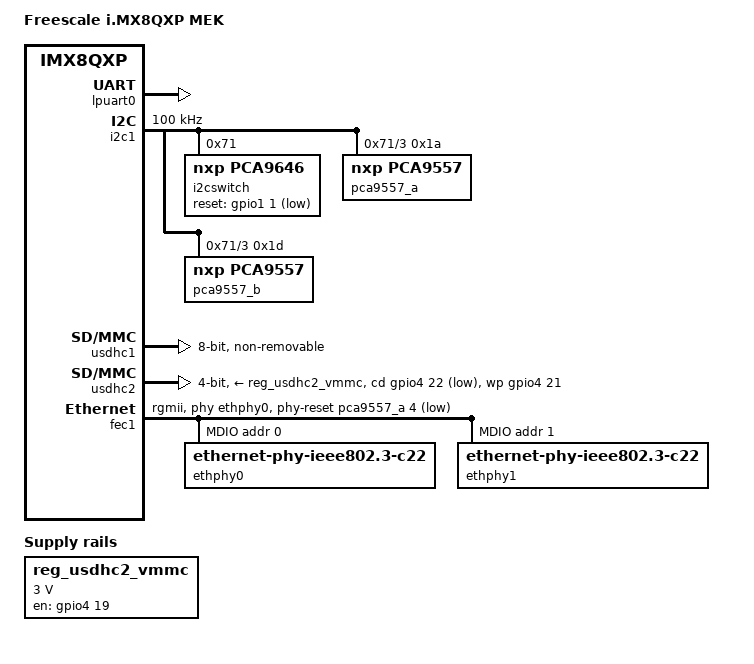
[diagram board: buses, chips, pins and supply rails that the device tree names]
// SPDX-License-Identifier: GPL-2.0+
/*
 * Copyright 2017-2018 NXP
 */

/dts-v1/;

#include "fsl-imx8qxp.dtsi"
#include "fsl-imx8qxp-mek-u-boot.dtsi"

/ {
	model = "Freescale i.MX8QXP MEK";
	compatible = "fsl,imx8qxp-mek", "fsl,imx8qxp";

	chosen {
		bootargs = "console=ttyLP0,115200 earlycon=lpuart32,0x5a060000,115200";
		stdout-path = &lpuart0;
	};

	reg_usdhc2_vmmc: regulator-usdhc2-vmmc {
		compatible = "regulator-fixed";
		regulator-name = "SD1_SPWR";
		regulator-min-microvolt = <3000000>;
		regulator-max-microvolt = <3000000>;
		gpio = <&gpio4 19 GPIO_ACTIVE_HIGH>;
		off-on-delay = <3480>;
		enable-active-high;
	};
};

&iomuxc {
	pinctrl-names = "default";
	pinctrl-0 = <&pinctrl_hog>;

	imx8qxp-mek {
		pinctrl_hog: hoggrp {
			fsl,pins = <
				SC_P_MCLK_OUT0_ADMA_ACM_MCLK_OUT0	0x0600004c
				SC_P_COMP_CTL_GPIO_1V8_3V3_GPIORHB_PAD	0x000514a0
			>;
		};

		pinctrl_ioexp_rst: ioexp-rst-grp {
			fsl,pins = <
				SC_P_SPI2_SDO_LSIO_GPIO1_IO01	0x06000021
			>;
		};

		pinctrl_fec1: fec1grp {
			fsl,pins = <
				SC_P_ENET0_MDC_CONN_ENET0_MDC			0x06000048
				SC_P_ENET0_MDIO_CONN_ENET0_MDIO			0x06000048
				SC_P_ENET0_RGMII_TX_CTL_CONN_ENET0_RGMII_TX_CTL	0x06000048
				SC_P_ENET0_RGMII_TXC_CONN_ENET0_RGMII_TXC	0x06000048
				SC_P_ENET0_RGMII_TXD0_CONN_ENET0_RGMII_TXD0	0x06000048
				SC_P_ENET0_RGMII_TXD1_CONN_ENET0_RGMII_TXD1	0x06000048
				SC_P_ENET0_RGMII_TXD2_CONN_ENET0_RGMII_TXD2	0x06000048
				SC_P_ENET0_RGMII_TXD3_CONN_ENET0_RGMII_TXD3	0x06000048
				SC_P_ENET0_RGMII_RXC_CONN_ENET0_RGMII_RXC	0x06000048
				SC_P_ENET0_RGMII_RX_CTL_CONN_ENET0_RGMII_RX_CTL	0x06000048
				SC_P_ENET0_RGMII_RXD0_CONN_ENET0_RGMII_RXD0	0x06000048
				SC_P_ENET0_RGMII_RXD1_CONN_ENET0_RGMII_RXD1	0x06000048
				SC_P_ENET0_RGMII_RXD2_CONN_ENET0_RGMII_RXD2	0x06000048
				SC_P_ENET0_RGMII_RXD3_CONN_ENET0_RGMII_RXD3	0x06000048
			>;
		};

		pinctrl_fec2: fec2grp {
			fsl,pins = <
				SC_P_ESAI0_SCKR_CONN_ENET1_RGMII_TX_CTL		0x06000048
				SC_P_ESAI0_FSR_CONN_ENET1_RGMII_TXC		0x06000048
				SC_P_ESAI0_TX4_RX1_CONN_ENET1_RGMII_TXD0	0x06000048
				SC_P_ESAI0_TX5_RX0_CONN_ENET1_RGMII_TXD1	0x06000048
				SC_P_ESAI0_FST_CONN_ENET1_RGMII_TXD2		0x06000048
				SC_P_ESAI0_SCKT_CONN_ENET1_RGMII_TXD3		0x06000048
				SC_P_ESAI0_TX0_CONN_ENET1_RGMII_RXC		0x06000048
				SC_P_SPDIF0_TX_CONN_ENET1_RGMII_RX_CTL		0x06000048
				SC_P_SPDIF0_RX_CONN_ENET1_RGMII_RXD0		0x06000048
				SC_P_ESAI0_TX3_RX2_CONN_ENET1_RGMII_RXD1	0x06000048
				SC_P_ESAI0_TX2_RX3_CONN_ENET1_RGMII_RXD2	0x06000048
				SC_P_ESAI0_TX1_CONN_ENET1_RGMII_RXD3		0x06000048
			>;
		};

		pinctrl_lpi2c1: lpi2c1grp {
			fsl,pins = <
				SC_P_USB_SS3_TC1_ADMA_I2C1_SCL	0x06000021
				SC_P_USB_SS3_TC3_ADMA_I2C1_SDA	0x06000021
			>;
		};

		pinctrl_lpuart0: lpuart0grp {
			fsl,pins = <
				SC_P_UART0_RX_ADMA_UART0_RX	0x06000020
				SC_P_UART0_TX_ADMA_UART0_TX	0x06000020
			>;
		};

		pinctrl_usdhc1: usdhc1grp {
			fsl,pins = <
				SC_P_EMMC0_CLK_CONN_EMMC0_CLK		0x06000041
				SC_P_EMMC0_CMD_CONN_EMMC0_CMD		0x00000021
				SC_P_EMMC0_DATA0_CONN_EMMC0_DATA0	0x00000021
				SC_P_EMMC0_DATA1_CONN_EMMC0_DATA1	0x00000021
				SC_P_EMMC0_DATA2_CONN_EMMC0_DATA2	0x00000021
				SC_P_EMMC0_DATA3_CONN_EMMC0_DATA3	0x00000021
				SC_P_EMMC0_DATA4_CONN_EMMC0_DATA4	0x00000021
				SC_P_EMMC0_DATA5_CONN_EMMC0_DATA5	0x00000021
				SC_P_EMMC0_DATA6_CONN_EMMC0_DATA6	0x00000021
				SC_P_EMMC0_DATA7_CONN_EMMC0_DATA7	0x00000021
				SC_P_EMMC0_STROBE_CONN_EMMC0_STROBE	0x00000041
			>;
		};

		pinctrl_usdhc2_gpio: usdhc2gpiogrp {
			fsl,pins = <
				SC_P_USDHC1_RESET_B_LSIO_GPIO4_IO19	0x00000021
				SC_P_USDHC1_WP_LSIO_GPIO4_IO21		0x00000021
				SC_P_USDHC1_CD_B_LSIO_GPIO4_IO22	0x00000021
			>;
		};

		pinctrl_usdhc2: usdhc2grp {
			fsl,pins = <
				SC_P_USDHC1_CLK_CONN_USDHC1_CLK		0x06000041
				SC_P_USDHC1_CMD_CONN_USDHC1_CMD		0x00000021
				SC_P_USDHC1_DATA0_CONN_USDHC1_DATA0	0x00000021
				SC_P_USDHC1_DATA1_CONN_USDHC1_DATA1	0x00000021
				SC_P_USDHC1_DATA2_CONN_USDHC1_DATA2	0x00000021
				SC_P_USDHC1_DATA3_CONN_USDHC1_DATA3	0x00000021
				SC_P_USDHC1_VSELECT_CONN_USDHC1_VSELECT	0x00000021
			>;
		};
	};
};

&A35_0 {
	u-boot,dm-pre-reloc;
};

&lpuart0 {
	pinctrl-names = "default";
	pinctrl-0 = <&pinctrl_lpuart0>;
	status = "okay";
};

&i2c1 {
	clock-frequency = <100000>;
	pinctrl-names = "default";
	pinctrl-0 = <&pinctrl_lpi2c1 &pinctrl_ioexp_rst>;
	status = "okay";

	i2cswitch@71 {
		compatible = "nxp,pca9646";
		reg = <0x71>;
		#address-cells = <1>;
		#size-cells = <0>;
		reset-gpios = <&gpio1 1 GPIO_ACTIVE_LOW>;

		bb_i2c1: i2c@0 {
			#address-cells = <1>;
			#size-cells = <0>;
			reg = <0x0>;
		};

		mfi_i2c1: i2c@1 {
			#address-cells = <1>;
			#size-cells = <0>;
			reg = <0x1>;
		};

		i2cexp1_i2c1: i2c@2 {
			#address-cells = <1>;
			#size-cells = <0>;
			reg = <0x2>;
		};

		i2cexp2_i2c1: i2c@3 {
			#address-cells = <1>;
			#size-cells = <0>;
			reg = <0x3>;

			pca9557_a: gpio@1a {
				compatible = "nxp,pca9557";
				reg = <0x1a>;
				gpio-controller;
				#gpio-cells = <2>;
			};
			pca9557_b: gpio@1d {
				compatible = "nxp,pca9557";
				reg = <0x1d>;
				gpio-controller;
				#gpio-cells = <2>;
			};
		};
	};
};

&usdhc1 {
	pinctrl-names = "default";
	pinctrl-0 = <&pinctrl_usdhc1>;
	bus-width = <8>;
	non-removable;
	status = "okay";
};

&usdhc2 {
	pinctrl-names = "default";
	pinctrl-0 = <&pinctrl_usdhc2>, <&pinctrl_usdhc2_gpio>;
	bus-width = <4>;
	cd-gpios = <&gpio4 22 GPIO_ACTIVE_LOW>;
	wp-gpios = <&gpio4 21 GPIO_ACTIVE_HIGH>;
	vmmc-supply = <&reg_usdhc2_vmmc>;
	status = "okay";
};

&fec1 {
	pinctrl-names = "default";
	pinctrl-0 = <&pinctrl_fec1>;
	phy-mode = "rgmii";
	phy-handle = <&ethphy0>;
	fsl,ar8031-phy-fixup;
	fsl,magic-packet;
	status = "okay";
	phy-reset-gpios = <&pca9557_a 4 GPIO_ACTIVE_LOW>;
	phy-reset-duration = <10>;
	phy-reset-post-delay = <150>;

	mdio {
		#address-cells = <1>;
		#size-cells = <0>;

		ethphy0: ethernet-phy@0 {
			compatible = "ethernet-phy-ieee802.3-c22";
			reg = <0>;
		};
		ethphy1: ethernet-phy@1 {
			compatible = "ethernet-phy-ieee802.3-c22";
			reg = <1>;
		};
	};
};
